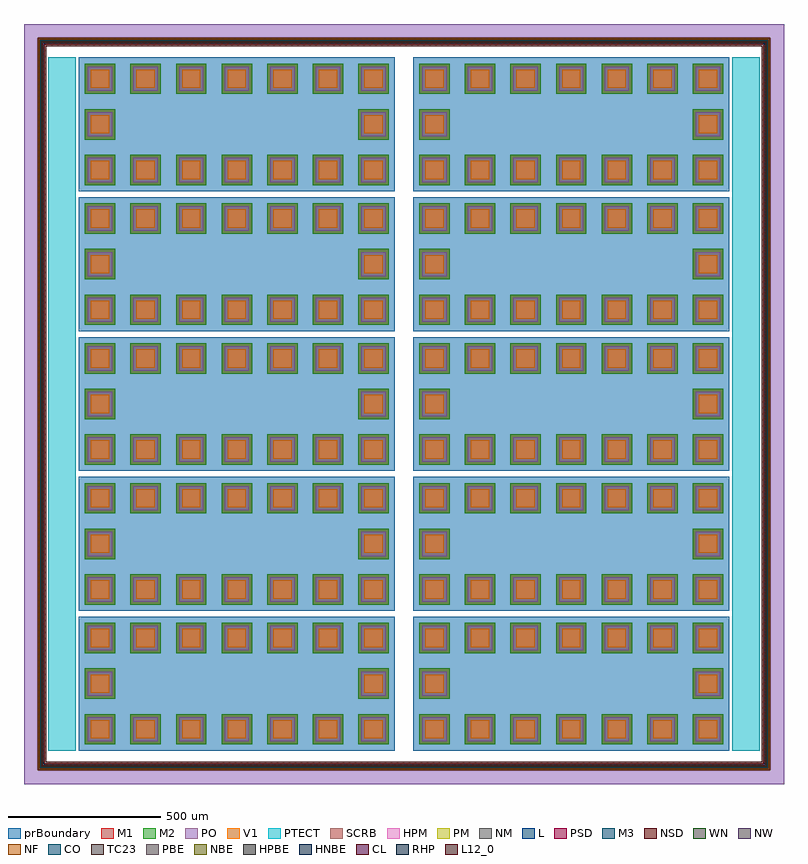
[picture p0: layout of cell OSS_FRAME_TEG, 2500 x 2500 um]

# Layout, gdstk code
from math import pi, radians
import gdstk
lib = gdstk.Library(unit=1e-6, precision=1e-09)
def R(c, l, rs):  # rectangles x0, y0, x1, y1
    for r in rs: c.add(gdstk.rectangle(r[:2], r[2:], *l))
L = (3, 0)
NM = (7, 0)
PSD = (9, 0)
CO = (11, 0)
L12_0 = (12, 0)
M1 = (13, 0)
PO = (14, 0)
V1 = (19, 0)
M2 = (20, 0)
NF = (25, 0)
NSD = (28, 0)
HPM = (33, 0)
PM = (35, 0)
NW = (36, 0)
PTECT = (63, 1)
SCRB = (80, 0)
TC23 = (121, 0)
M3 = (122, 0)
WN = (140, 0)
CL = (143, 0)
HPBE = (144, 0)
HNBE = (145, 0)
PBE = (146, 0)
NBE = (147, 0)
RHP = (148, 0)
prBoundary = (235, 0)

oss_pad_teg = lib.new_cell('OSS_PAD_TEG')
R(oss_pad_teg, M1, [(-50,-50,50,50)])
R(oss_pad_teg, PO, [(-40,-40,40,40)])
R(oss_pad_teg, V1, [(-30,-30,30,30)])
R(oss_pad_teg, M2, [(-50,-50,50,50)])

oss_pad16 = lib.new_cell('OSS_PAD16')
R(oss_pad16, prBoundary, [(-520,-220,520,220)])
oss_pad16.add(gdstk.Reference(oss_pad_teg, (150,-150)))
oss_pad16.add(gdstk.Reference(oss_pad_teg, (150,150)))
oss_pad16.add(gdstk.Reference(oss_pad_teg, (300,-150)))
oss_pad16.add(gdstk.Reference(oss_pad_teg, (300,150)))
oss_pad16.add(gdstk.Reference(oss_pad_teg, (450,0)))
oss_pad16.add(gdstk.Reference(oss_pad_teg, (450,-150)))
oss_pad16.add(gdstk.Reference(oss_pad_teg, (450,150)))
oss_pad16.add(gdstk.Reference(oss_pad_teg, (-450,0)))
oss_pad16.add(gdstk.Reference(oss_pad_teg, (-450,-150)))
oss_pad16.add(gdstk.Reference(oss_pad_teg, (-450,150)))
oss_pad16.add(gdstk.Reference(oss_pad_teg, (-300,-150)))
oss_pad16.add(gdstk.Reference(oss_pad_teg, (-300,150)))
oss_pad16.add(gdstk.Reference(oss_pad_teg, (-150,-150)))
oss_pad16.add(gdstk.Reference(oss_pad_teg, (-150,150)))
oss_pad16.add(gdstk.Reference(oss_pad_teg, (0,-150)))
oss_pad16.add(gdstk.Reference(oss_pad_teg, (0,150)))

oss_edge_seal0 = lib.new_cell('OSS_EDGE_SEAL0')
R(oss_edge_seal0, L, [(47,-1203,67,1203)])
R(oss_edge_seal0, NM, [(45,-1205,69,1205)])
R(oss_edge_seal0, PSD, [(45,-1205,58.75,1205)])
R(oss_edge_seal0, CO, [(55,-1195,61,1195)])
R(oss_edge_seal0, L12_0, [(71,-1179,73.6,1179)])
R(oss_edge_seal0, M1, [(52,-1198,67,1198)])
R(oss_edge_seal0, PO, [(0,-1250,45,1250)])
R(oss_edge_seal0, V1, [(63,-1187,65,1187)])
R(oss_edge_seal0, M2, [(54,-1196,67,1196)])
R(oss_edge_seal0, NF, [(45,-1205,52,1205)])
R(oss_edge_seal0, NSD, [(57.25,-1192.75,69,1192.75)])
R(oss_edge_seal0, HPM, [(45,-1205,69,1205)])
R(oss_edge_seal0, PM, [(45,-1205,69,1205)])
R(oss_edge_seal0, NW, [(45,-1205,52,1205)])
R(oss_edge_seal0, SCRB, [(45,-1205,73.6,1205)])
R(oss_edge_seal0, TC23, [(57.4,-1192.6,58.8,1192.6), (60.3,-1189.7,61.7,1189.7)])
R(oss_edge_seal0, M3, [(54,-1196,67,1196)])
R(oss_edge_seal0, WN, [(45,-1205,52,1205)])
R(oss_edge_seal0, CL, [(71,-1179,73.6,1179)])
R(oss_edge_seal0, HPBE, [(71,-1179,73.6,1179)])
R(oss_edge_seal0, HNBE, [(71,-1179,73.6,1179)])
R(oss_edge_seal0, PBE, [(71,-1179,73.6,1179)])
R(oss_edge_seal0, NBE, [(71,-1179,73.6,1179)])
R(oss_edge_seal0, RHP, [(71,-1179,73.6,1179)])

oss_edge_seal = lib.new_cell('OSS_EDGE_SEAL')
oss_edge_seal.add(gdstk.Reference(oss_edge_seal0, (-1250,0)))
oss_edge_seal.add(gdstk.Reference(oss_edge_seal0, (0,-1250), rotation=pi/2))
oss_edge_seal.add(gdstk.Reference(oss_edge_seal0, (1250,0), rotation=pi))
oss_edge_seal.add(gdstk.Reference(oss_edge_seal0, (0,1250), rotation=3*pi/2))

oss_frame_teg = lib.new_cell('OSS_FRAME_TEG')
R(oss_frame_teg, PTECT, [(-1170,-1140,-1080,1140), (1080,-1140,1170,1140)])
r = gdstk.Reference(oss_pad16, (-550,-920)); r.repetition = gdstk.Repetition(2, 5, v1=(1100,0), v2=(0,460)); oss_frame_teg.add(r)
oss_frame_teg.add(gdstk.Reference(oss_edge_seal, (0,0)))

lib.write_gds('OSS_FRAME_TEG.gds')
